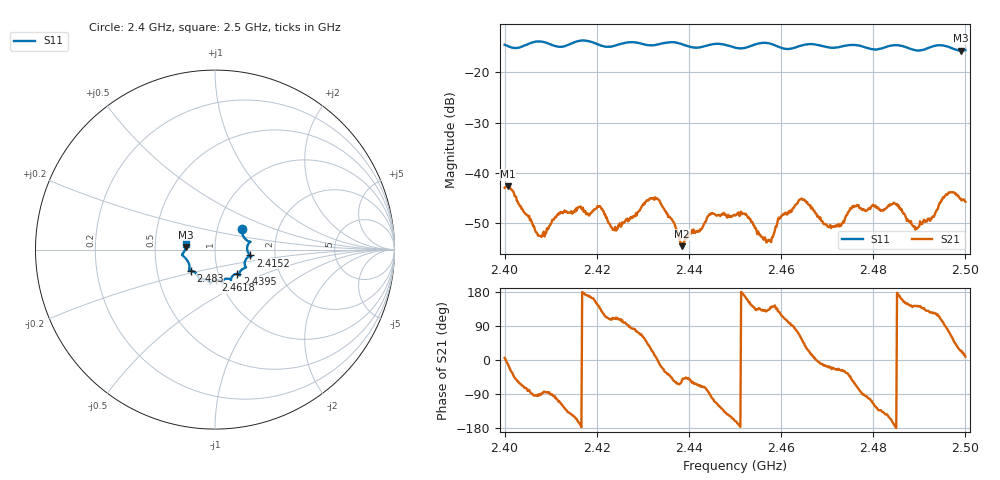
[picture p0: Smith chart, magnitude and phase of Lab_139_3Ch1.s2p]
# Hz S RI R 50
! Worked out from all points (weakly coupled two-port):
!   601 points, 2.4 GHz to 2.5 GHz, reference 50 ohm
!   highest |S21| = -42.65 dB at 2.4007 GHz (marker M1); lowest = -54.6 dB at 2.4385 GHz (marker M2)
!   lowest |S11| = -15.7 dB at 2.499 GHz (marker M3), VSWR 1.39, Z = 36 + j1.1 ohm
!   |S11| at or under -10 dB: start of sweep to end of sweep
!   S12 and S22 are empty: the file has one direction only
!   S11 on the Smith chart (normalised r, x): 2.4 GHz: 1.31, +0.31; 2.4152 GHz: 1.48, -0.10; 2.4395 GHz: 1.23, -0.34; 2.4618 GHz: 0.95, -0.33; 2.483 GHz: 0.74, -0.18; 2.5 GHz: 0.72, +0.05
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2.4e9  0.1497 0.1134  0.00707 0.000688  0 0  0 0
2.400667e9  0.1499 0.1041  0.00726 -0.00131  0 0  0 0
2.407667e9  0.1979 0.044  3.09e-05 -0.00236  0 0  0 0
2.415167e9  0.1962 -0.0328  -0.00366 -0.00212  0 0  0 0
2.416667e9  0.2034 -0.0377  -0.00438 -0.0002  0 0  0 0
2.420667e9  0.181 -0.0444  -0.0034 0.0032  0 0  0 0
2.424e9  0.1652 -0.0818  -0.000956 0.00274  0 0  0 0
2.433333e9  0.1365 -0.1317  0.00543 -0.000384  0 0  0 0
2.4385e9  0.1315 -0.1376  0.00111 -0.0015  0 0  0 0
2.4395e9  0.124 -0.1354  0.00152 -0.00168  0 0  0 0
2.45e9  0.0696 -0.1618  -0.00355 -0.00124  0 0  0 0
2.457333e9  0.0439 -0.1894  -0.00146 0.00159  0 0  0 0
2.461833e9  0.0042 -0.171  -0.000493 0.00399  0 0  0 0
2.466667e9  -0.0264 -0.1888  0.00439 0.00112  0 0  0 0
2.471333e9  -0.0532 -0.1669  0.00272 -0.00105  0 0  0 0
2.476e9  -0.0879 -0.1649  0.00223 -0.00414  0 0  0 0
2.483e9  -0.1355 -0.1181  -0.00366 -0.00268  0 0  0 0
2.483333e9  -0.1383 -0.1179  -0.00412 -0.0024  0 0  0 0
2.489333e9  -0.1458 -0.0778  -0.00226 0.00173  0 0  0 0
2.496167e9  -0.1787 -0.0214  0.00106 0.00601  0 0  0 0
2.499e9  -0.1632 0.0149  0.00506 0.0022  0 0  0 0
2.5e9  -0.1632 0.0326  0.00511 0.000787  0 0  0 0
